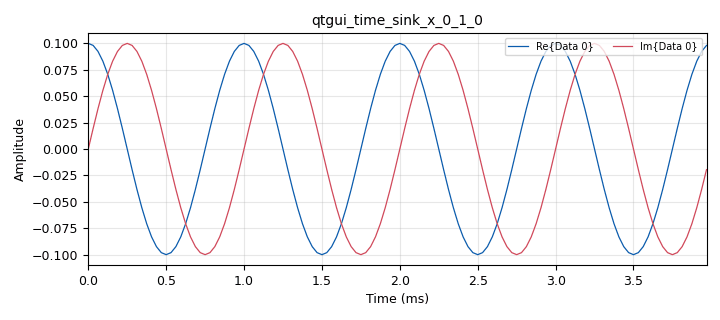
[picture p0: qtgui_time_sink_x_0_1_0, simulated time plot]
<?xml version='1.0' encoding='utf-8'?>
<?grc format='1' created='3.7.8'?>
<flow_graph>
<block>
<key>options</key>
<param><key>id</key><value>top_block</value></param>
<param><key>category</key><value>Custom</value></param>
<param><key>generate_options</key><value>qt_gui</value></param>
</block>
<block>
<key>variable</key>
<param><key>id</key><value>samp_rate</value></param>
<param><key>value</key><value>32000</value></param>
</block>
<block>
<key>variable</key>
<param><key>id</key><value>samp_rate_0</value></param>
<param><key>value</key><value>32000</value></param>
</block>
<block>
<key>variable_qtgui_chooser</key>
<param><key>id</key><value>variable_qtgui_chooser_0</value></param>
<param><key>value</key><value>0</value></param>
<param><key>label0</key><value>Disable</value></param>
<param><key>label1</key><value>Enable</value></param>
<param><key>label</key><value>Enabler</value></param>
<param><key>num_opts</key><value>2</value></param>
<param><key>option0</key><value>0</value></param>
<param><key>option1</key><value>1</value></param>
<param><key>type</key><value>int</value></param>
</block>
<block>
<key>variable_qtgui_chooser</key>
<param><key>id</key><value>variable_qtgui_chooser_1</value></param>
<param><key>value</key><value>0</value></param>
<param><key>_enabled</key><value>0</value></param>
<param><key>num_opts</key><value>3</value></param>
<param><key>option0</key><value>0</value></param>
<param><key>option1</key><value>1</value></param>
<param><key>option2</key><value>2</value></param>
<param><key>type</key><value>int</value></param>
</block>
<block>
<key>variable_qtgui_push_button</key>
<param><key>id</key><value>variable_qtgui_push_button_0</value></param>
<param><key>value</key><value>1</value></param>
<param><key>_enabled</key><value>0</value></param>
<param><key>pressed</key><value>1</value></param>
<param><key>released</key><value>0</value></param>
<param><key>type</key><value>int</value></param>
</block>
<block>
<key>variable_qtgui_range</key>
<param><key>id</key><value>variable_qtgui_range_0</value></param>
<param><key>value</key><value>10</value></param>
<param><key>orient</key><value>Qt.Horizontal</value></param>
<param><key>start</key><value>0</value></param>
<param><key>step</key><value>1</value></param>
<param><key>stop</key><value>100</value></param>
</block>
<block>
<key>analog_sig_source_x</key>
<param><key>id</key><value>analog_sig_source_x_0</value></param>
<param><key>amp</key><value>1</value></param>
<param><key>freq</key><value>1000</value></param>
<param><key>offset</key><value>0</value></param>
<param><key>type</key><value>complex</value></param>
<param><key>samp_rate</key><value>samp_rate_0</value></param>
<param><key>waveform</key><value>analog.GR_COS_WAVE</value></param>
</block>
<block>
<key>blks2_valve</key>
<param><key>id</key><value>blks2_valve_0</value></param>
<param><key>open</key><value>variable_qtgui_chooser_0</value></param>
<param><key>type</key><value>complex</value></param>
<param><key>vlen</key><value>1</value></param>
</block>
<block>
<key>blocks_multiply_const_vxx</key>
<param><key>id</key><value>blocks_multiply_const_vxx_0_0</value></param>
<param><key>const</key><value>variable_qtgui_range_0*0.01</value></param>
<param><key>type</key><value>complex</value></param>
</block>
<block>
<key>blocks_throttle</key>
<param><key>id</key><value>blocks_throttle_0</value></param>
<param><key>samples_per_second</key><value>samp_rate</value></param>
<param><key>type</key><value>complex</value></param>
</block>
<block>
<key>qtgui_time_sink_x</key>
<param><key>id</key><value>qtgui_time_sink_x_0_1</value></param>
<param><key>autoscale</key><value>True</value></param>
<param><key>color1</key><value>"blue"</value></param>
<param><key>label1</key><value></value></param>
<param><key>color2</key><value>"red"</value></param>
<param><key>label2</key><value></value></param>
<param><key>size</key><value>128</value></param>
<param><key>srate</key><value>samp_rate</value></param>
<param><key>type</key><value>complex</value></param>
</block>
<block>
<key>qtgui_time_sink_x</key>
<param><key>id</key><value>qtgui_time_sink_x_0_1_0</value></param>
<param><key>autoscale</key><value>True</value></param>
<param><key>color1</key><value>"blue"</value></param>
<param><key>label1</key><value></value></param>
<param><key>color2</key><value>"red"</value></param>
<param><key>label2</key><value></value></param>
<param><key>size</key><value>128</value></param>
<param><key>srate</key><value>samp_rate</value></param>
<param><key>type</key><value>complex</value></param>
</block>
<block>
<key>wifius_divide_by_message</key>
<param><key>id</key><value>wifius_divide_by_message_0</value></param>
</block>
<block>
<key>wifius_find_scale_factor</key>
<param><key>id</key><value>wifius_find_scale_factor_0</value></param>
<param><key>cal_tone_freq</key><value>1000</value></param>
<param><key>samp_rate</key><value>samp_rate_0</value></param>
</block>
<connection><source_block_id>analog_sig_source_x_0</source_block_id><sink_block_id>blocks_throttle_0</sink_block_id><source_key>0</source_key><sink_key>0</sink_key></connection>
<connection><source_block_id>blks2_valve_0</source_block_id><sink_block_id>wifius_find_scale_factor_0</sink_block_id><source_key>0</source_key><sink_key>0</sink_key></connection>
<connection><source_block_id>blocks_multiply_const_vxx_0_0</source_block_id><sink_block_id>blks2_valve_0</sink_block_id><source_key>0</source_key><sink_key>0</sink_key></connection>
<connection><source_block_id>blocks_multiply_const_vxx_0_0</source_block_id><sink_block_id>qtgui_time_sink_x_0_1_0</sink_block_id><source_key>0</source_key><sink_key>0</sink_key></connection>
<connection><source_block_id>blocks_multiply_const_vxx_0_0</source_block_id><sink_block_id>wifius_divide_by_message_0</sink_block_id><source_key>0</source_key><sink_key>0</sink_key></connection>
<connection><source_block_id>blocks_throttle_0</source_block_id><sink_block_id>blocks_multiply_const_vxx_0_0</sink_block_id><source_key>0</source_key><sink_key>0</sink_key></connection>
<connection><source_block_id>wifius_divide_by_message_0</source_block_id><sink_block_id>qtgui_time_sink_x_0_1</sink_block_id><source_key>0</source_key><sink_key>0</sink_key></connection>
<connection><source_block_id>wifius_find_scale_factor_0</source_block_id><sink_block_id>wifius_divide_by_message_0</sink_block_id><source_key>message</source_key><sink_key>set_divisor</sink_key></connection>
</flow_graph>
